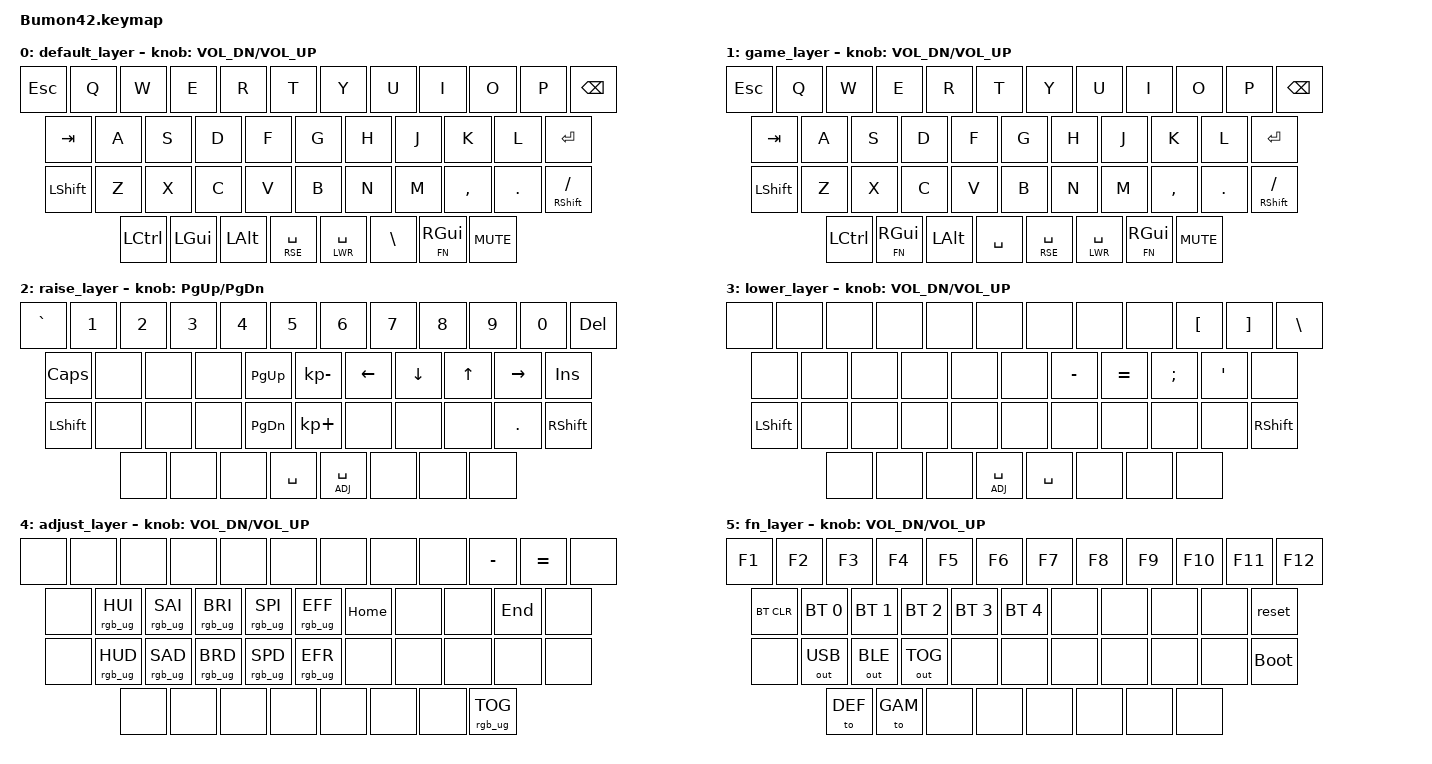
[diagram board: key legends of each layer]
#include <behaviors.dtsi>
#include <dt-bindings/zmk/keys.h>
#include <dt-bindings/zmk/bt.h>
#include <dt-bindings/zmk/outputs.h>
#include <dt-bindings/zmk/rgb.h>
// #include <dt-bindings/zmk/ext_power.h>
// changed lwr and rse
#define DEF 0
#define GAM 1
#define RSE 2
#define LWR 3
#define ADJ 4
#define FN  5

/ {
    keymap {
        compatible = "zmk,keymap";

        default_layer {
          bindings = <
            &kp ESC  &kp Q   &kp W  &kp E  &kp R  &kp T    &kp Y  &kp U  &kp I  &kp O   &kp P  &kp BSPC
            &kp TAB    &kp A  &kp S  &kp D  &kp F  &kp G  &kp H  &kp J  &kp K  &kp L         &kp ENTER
            &kp LSHFT   &kp Z  &kp X  &kp C  &kp V  &kp B  &kp N  &kp M  &kp COMMA &kp DOT   &mt RSHIFT SLASH
            &kp LCTRL &kp LGUI &kp LALT &lt RSE SPACE &lt LWR SPACE &kp BSLH   &lt FN RGUI  &kp C_MUTE
			       >;
          sensor-bindings = <&inc_dec_kp C_VOL_DN C_VOL_UP>;

        };

        game_layer {
          bindings = <
            &kp ESC  &kp Q  &kp W  &kp E  &kp R  &kp T    &kp Y  &kp U  &kp I  &kp O   &kp P  &kp BSPC
            &kp TAB    &kp A  &kp S  &kp D  &kp F  &kp G  &kp H  &kp J  &kp K  &kp L         &kp ENTER
            &kp LSHFT   &kp Z  &kp X  &kp C  &kp V  &kp B  &kp N  &kp M  &kp COMMA &kp DOT   &mt RSHIFT SLASH
            &kp LCTRL &lt FN RGUI &kp LALT  &kp SPACE &lt RSE SPACE &lt LWR SPACE  &lt FN RGUI &kp C_MUTE
             >;
          sensor-bindings = <&inc_dec_kp C_VOL_DN C_VOL_UP>;
        };
        raise_layer {
          bindings = <
            &kp GRAVE  &kp N1  &kp N2  &kp N3  &kp N4  &kp N5    &kp N6  &kp N7  &kp N8  &kp N9 &kp N0  &kp DEL
            &kp CAPS    &none  &none  &none  &kp PG_UP  &kp KP_MINUS  &kp LEFT  &kp DOWN  &kp UP  &kp RIGHT          &kp INS
            &kp LSHFT          &none  &none  &none &kp PG_DN  &kp KP_PLUS  &none  &none  &none  &kp DOT          &kp RSHFT
            &none   &none   &none         &kp SPACE           &lt ADJ SPACE                 &none  &none  &none
			       >;
          sensor-bindings = <&inc_dec_kp PG_UP PG_DN>;

        };
        lower_layer {
          bindings = <
            &none &none  &none  &none  &none  &none    &none  &none    &none    &kp LBKT  &kp RBKT     &kp BSLH
            &none   &none    &none  &none   &none   &none   &kp MINUS  &kp EQUAL  &kp SEMI  &kp SQT &none
            &kp LSHFT   &none    &none  &none   &none   &none    &none  &none  &none  &none     &kp RSHFT
            &none   &none   &none       &lt ADJ SPACE           &kp SPACE                   &none  &none  &none
			       >;
          sensor-bindings = <&inc_dec_kp C_VOL_DN C_VOL_UP>;

        };
        adjust_layer {
          bindings = <
            &none  &none  &none  &none  &none  &none   &none  &none  &none &kp MINUS &kp EQUAL &none
            &none  &rgb_ug RGB_HUI  &rgb_ug RGB_SAI  &rgb_ug RGB_BRI  &rgb_ug RGB_SPI  &rgb_ug RGB_EFF   &kp HOME  &none  &none  &kp END  &none
            &none  &rgb_ug RGB_HUD  &rgb_ug RGB_SAD  &rgb_ug RGB_BRD  &rgb_ug RGB_SPD  &rgb_ug RGB_EFR   &none  &none  &none  &none  &none
            &none  &none  &none  &none  &none  &none   &none  &rgb_ug RGB_TOG
			       >;
          sensor-bindings = <&inc_dec_kp C_VOL_DN C_VOL_UP>;
        //   &ext_power EXT_POWER_TOGGLE_CMD

        };

        fn_layer {
          bindings = <
            &kp F1  &kp F2  &kp F3  &kp F4  &kp F5  &kp F6   &kp F7  &kp F8  &kp F9  &kp F10  &kp F11  &kp F12
            &bt BT_CLR  &bt BT_SEL 0 &bt BT_SEL 1 &bt BT_SEL 2 &bt BT_SEL 3 &bt BT_SEL 4   &none  &none  &none  &none  &reset
            &none &out OUT_USB  &out OUT_BLE  &out OUT_TOG  &none  &none  &none   &none  &none  &none  &bootloader
            &to DEF  &to GAM  &none  &none  &none  &none   &none  &none
			       >;
          sensor-bindings = <&inc_dec_kp C_VOL_DN C_VOL_UP>;
        };
    };
};
